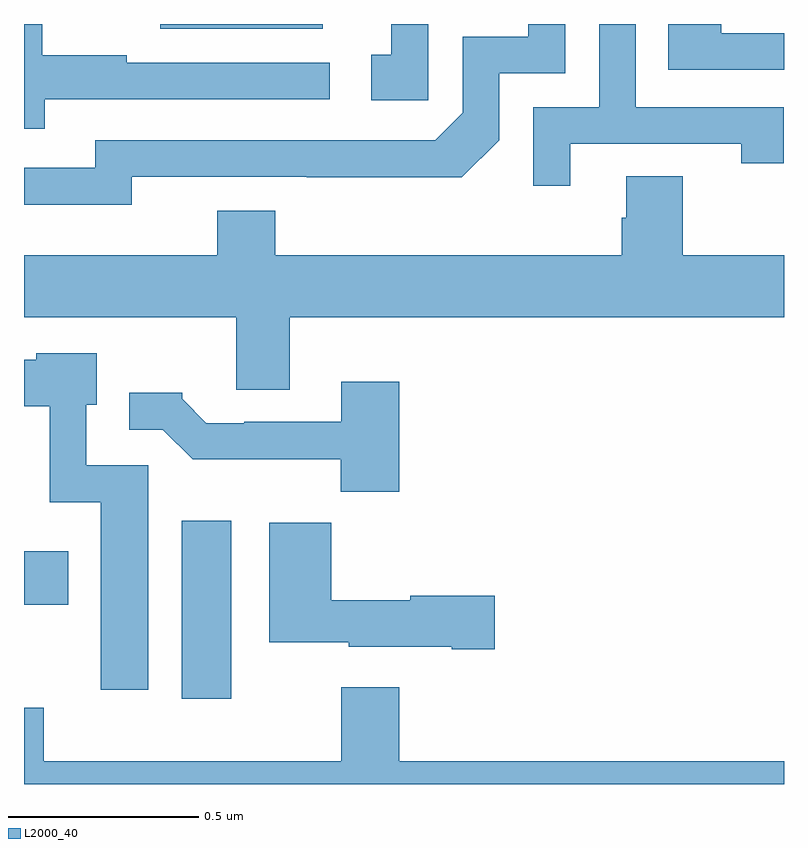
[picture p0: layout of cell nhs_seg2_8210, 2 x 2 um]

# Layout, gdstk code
import gdstk
lib = gdstk.Library(unit=1e-6, precision=1e-09)
def R(c, l, rs):  # rectangles x0, y0, x1, y1
    for r in rs: c.add(gdstk.rectangle(r[:2], r[2:], *l))
def P(c, l, *ps):  # polygons
    for p in ps: c.add(gdstk.Polygon(p, *l))
L2000_40 = (2000, 40)

nhs_seg2_8210 = lib.new_cell('nhs_seg2_8210')
R(nhs_seg2_8210, L2000_40, [(214.415,588.024,214.546,588.493), (214,588.272,214.117,588.412), (214.359,589.787,214.786,589.8)])
P(nhs_seg2_8210, L2000_40, [(214.284,589.398),(214.744,589.398),(214.744,589.397),(215.152,589.397),(215.25,589.494),(215.25,589.671),(215.424,589.671),(215.424,589.8),(215.327,589.8),(215.327,589.767),(215.154,589.767),(215.154,589.566),(215.082,589.494),(214.188,589.494),(214.188,589.422),(214,589.422),(214,589.325),(214.284,589.325)],
  [(216,589.776),(215.835,589.776),(215.835,589.8),(215.695,589.8),(215.695,589.68),(216,589.68)],
  [(215.064,589.8),(214.967,589.8),(214.967,589.719),(214.914,589.719),(214.914,589.599),(215.064,589.599)],
  [(214.055,589.602),(214.804,589.602),(214.804,589.698),(214.271,589.698),(214.271,589.718),(214.048,589.718),(214.048,589.8),(214,589.8),(214,589.524),(214.055,589.524)],
  [(215.437,589.485),(215.888,589.485),(215.888,589.434),(215.999,589.434),(215.999,589.581),(215.61,589.581),(215.61,589.8),(215.514,589.8),(215.514,589.581),(215.34,589.581),(215.34,589.374),(215.437,589.374)],
  [(214.508,589.309),(214.508,589.192),(214,589.192),(214,589.028),(214.559,589.028),(214.559,588.838),(214.699,588.838),(214.699,589.028),(216,589.028),(216,589.192),(215.733,589.192),(215.733,589.4),(215.585,589.4),(215.585,589.29),(215.573,589.29),(215.573,589.192),(214.661,589.192),(214.661,589.309)],
  [(214.327,588.639),(214.164,588.639),(214.164,588.798),(214.192,588.798),(214.192,588.934),(214.032,588.934),(214.032,588.916),(214,588.916),(214,588.794),(214.068,588.794),(214.068,588.542),(214.202,588.542),(214.202,588.048),(214.327,588.048)],
  [(214.988,588.859),(214.835,588.859),(214.835,588.753),(214.579,588.753),(214.579,588.75),(214.48,588.75),(214.416,588.814),(214.416,588.829),(214.277,588.829),(214.277,588.732),(214.365,588.732),(214.444,588.654),(214.833,588.654),(214.833,588.569),(214.988,588.569)],
  [(215.239,588.296),(215.016,588.296),(215.016,588.283),(214.808,588.283),(214.808,588.487),(214.646,588.487),(214.646,588.173),(214.854,588.173),(214.854,588.161),(215.126,588.161),(215.126,588.154),(215.239,588.154)],
  [(216,587.86),(214.988,587.86),(214.988,588.055),(214.835,588.055),(214.835,587.86),(214.052,587.86),(214.052,588.001),(214,588.001),(214,587.8),(216,587.8)])

lib.write_gds('nhs_seg2_8210.gds')
